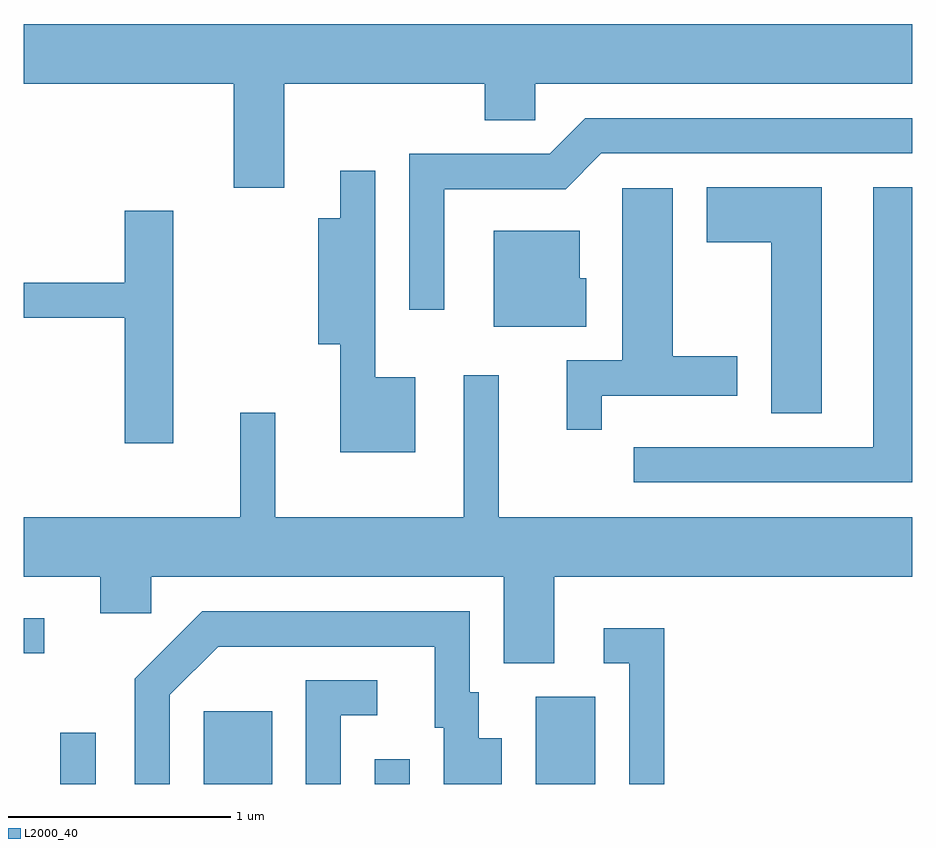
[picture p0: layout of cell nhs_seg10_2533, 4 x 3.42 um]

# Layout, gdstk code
import gdstk
lib = gdstk.Library(unit=1e-6, precision=1e-09)
def R(c, l, rs):  # rectangles x0, y0, x1, y1
    for r in rs: c.add(gdstk.rectangle(r[:2], r[2:], *l))
def P(c, l, *ps):  # polygons
    for p in ps: c.add(gdstk.Polygon(p, *l))
L2000_40 = (2000, 40)

nhs_seg10_2533 = lib.new_cell('nhs_seg10_2533')
R(nhs_seg10_2533, L2000_40, [(259.776,2128.522,259.934,2128.753), (260.421,2128.522,260.729,2128.849), (261.191,2128.522,261.349,2128.633), (261.916,2128.522,262.184,2128.914), (259.611,2129.111,259.703,2129.269)])
P(nhs_seg10_2533, L2000_40, [(260.784,2131.676),(261.686,2131.676),(261.686,2131.511),(261.914,2131.511),(261.914,2131.676),(263.611,2131.676),(263.611,2131.944),(259.611,2131.944),(259.611,2131.676),(260.556,2131.676),(260.556,2131.206),(260.784,2131.206)],
  [(261.504,2131.201),(262.052,2131.201),(262.212,2131.361),(263.611,2131.361),(263.611,2131.519),(262.139,2131.519),(261.979,2131.359),(261.346,2131.359),(261.346,2130.658),(261.504,2130.658)],
  [(261.374,2130.354),(261.194,2130.354),(261.194,2131.283),(261.036,2131.283),(261.036,2131.069),(260.936,2131.069),(260.936,2130.501),(261.036,2130.501),(261.036,2130.016),(261.374,2130.016)],
  [(263.611,2131.209),(263.436,2131.209),(263.436,2130.039),(262.358,2130.039),(262.358,2129.881),(263.611,2129.881)],
  [(263.204,2131.209),(262.686,2131.209),(262.686,2130.961),(262.976,2130.961),(262.976,2130.191),(263.204,2130.191)],
  [(262.214,2130.271),(262.824,2130.271),(262.824,2130.449),(262.534,2130.449),(262.534,2131.204),(262.306,2131.204),(262.306,2130.429),(262.056,2130.429),(262.056,2130.118),(262.214,2130.118)],
  [(260.284,2131.104),(260.066,2131.104),(260.066,2130.779),(259.611,2130.779),(259.611,2130.621),(260.066,2130.621),(260.066,2130.056),(260.284,2130.056)],
  [(262.144,2130.799),(262.114,2130.799),(262.114,2131.014),(261.726,2131.014),(261.726,2130.581),(262.144,2130.581)],
  [(261.999,2129.456),(263.611,2129.456),(263.611,2129.724),(261.749,2129.724),(261.749,2130.363),(261.591,2130.363),(261.591,2129.724),(260.744,2129.724),(260.744,2130.193),(260.586,2130.193),(260.586,2129.724),(259.611,2129.724),(259.611,2129.456),(259.956,2129.456),(259.956,2129.291),(260.184,2129.291),(260.184,2129.456),(261.771,2129.456),(261.771,2129.066),(261.999,2129.066)],
  [(260.269,2128.924),(260.486,2129.141),(261.461,2129.141),(261.461,2128.776),(261.501,2128.776),(261.501,2128.522),(261.764,2128.522),(261.764,2128.729),(261.659,2128.729),(261.659,2128.934),(261.619,2128.934),(261.619,2129.299),(260.414,2129.299),(260.111,2128.997),(260.111,2128.522),(260.269,2128.522)],
  [(262.494,2129.224),(262.223,2129.224),(262.223,2129.066),(262.336,2129.066),(262.336,2128.522),(262.494,2128.522)],
  [(261.039,2128.831),(261.203,2128.831),(261.203,2128.989),(260.881,2128.989),(260.881,2128.522),(261.039,2128.522)])

lib.write_gds('nhs_seg10_2533.gds')
